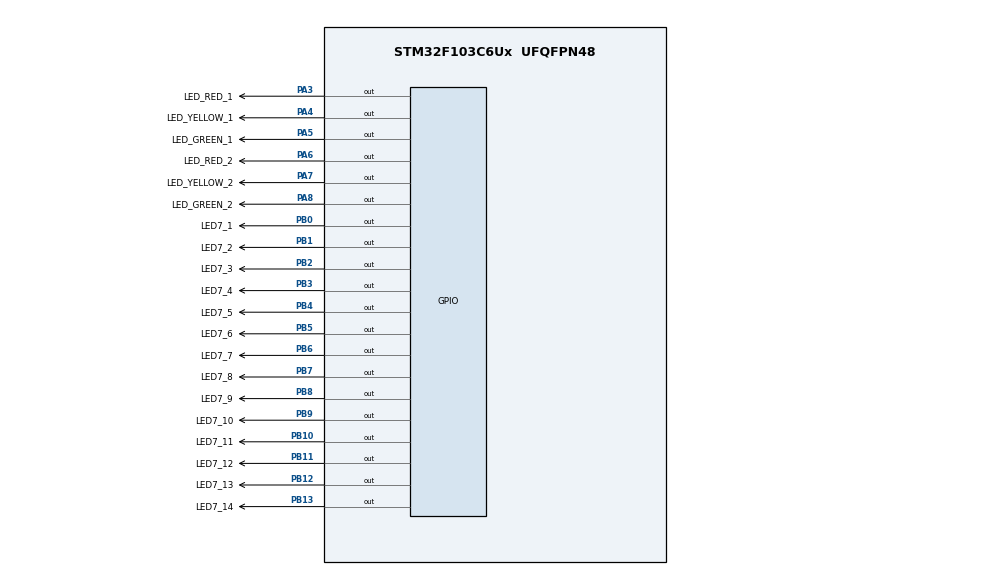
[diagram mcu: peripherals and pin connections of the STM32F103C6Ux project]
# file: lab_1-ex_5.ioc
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Mcu.Family=STM32F1
Mcu.Name=STM32F103C6Ux
Mcu.Package=UFQFPN48
NVIC.PriorityGroup=NVIC_PRIORITYGROUP_4
PA3.GPIO_Label=LED_RED_1
PA3.Signal=GPIO_Output
PA4.GPIO_Label=LED_YELLOW_1
PA4.Signal=GPIO_Output
PA5.GPIO_Label=LED_GREEN_1
PA5.Signal=GPIO_Output
PA6.GPIO_Label=LED_RED_2
PA6.Signal=GPIO_Output
PA7.GPIO_Label=LED_YELLOW_2
PA7.Signal=GPIO_Output
PA8.GPIO_Label=LED_GREEN_2
PA8.Signal=GPIO_Output
PB0.GPIO_Label=LED7_1
PB0.Signal=GPIO_Output
PB1.GPIO_Label=LED7_2
PB1.Signal=GPIO_Output
PB10.GPIO_Label=LED7_11
PB10.Signal=GPIO_Output
PB11.GPIO_Label=LED7_12
PB11.Signal=GPIO_Output
PB12.GPIO_Label=LED7_13
PB12.Signal=GPIO_Output
PB13.GPIO_Label=LED7_14
PB13.Signal=GPIO_Output
PB2.GPIO_Label=LED7_3
PB2.Signal=GPIO_Output
PB3.GPIO_Label=LED7_4
PB3.Signal=GPIO_Output
PB4.GPIO_Label=LED7_5
PB4.Signal=GPIO_Output
PB5.GPIO_Label=LED7_6
PB5.Signal=GPIO_Output
PB6.GPIO_Label=LED7_7
PB6.Signal=GPIO_Output
PB7.GPIO_Label=LED7_8
PB7.Signal=GPIO_Output
PB8.GPIO_Label=LED7_9
PB8.Signal=GPIO_Output
PB9.GPIO_Label=LED7_10
PB9.Signal=GPIO_Output
ProjectManager.HeapSize=0x200
ProjectManager.StackSize=0x400
ProjectManager.TargetToolchain=STM32CubeIDE
RCC.APB1Freq_Value=8000000
RCC.APB2Freq_Value=8000000
VP_SYS_VS_ND.Mode=No_Debug
board=custom

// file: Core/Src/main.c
/* USER CODE BEGIN Header */
/**
  ******************************************************************************
  * @file           : main.c
  * @brief          : Main program body
  ******************************************************************************
  * @attention
  *
  * <h2><center>&copy; Copyright (c) 2022 STMicroelectronics.
  * All rights reserved.</center></h2>
  *
  * This software component is licensed by ST under BSD 3-Clause license,
  * the "License"; You may not use this file except in compliance with the
  * License. You may obtain a copy of the License at:
  *                        opensource.org/licenses/BSD-3-Clause
  *
  ******************************************************************************
  */
/* USER CODE END Header */
// Note:
//Sua lai chan den LED 7 doan thu 2
#include "main.h"

void SystemClock_Config(void);
static void MX_GPIO_Init(void);

int main(void)
{

  /* MCU Configuration--------------------------------------------------------*/

  /* Reset of all peripherals, Initializes the Flash interface and the Systick. */
  HAL_Init();

  /* USER CODE BEGIN Init */
  int point = 0;
  int count_red_1 = 5;
  int count_yellow_1 = 2;
  int count_green_1 = 3;
  int count_red_2 = 5;
  int count_yellow_2 = 2;
  int count_green_2 = 3;
  int counter_vertical = 5;
  int counter_horizontal = 3;
  int convert = 0;
  /* USER CODE END Init */

  /* Configure the system clock */
  SystemClock_Config();

  /* Initialize all configured peripherals */
  MX_GPIO_Init();

  /* Infinite loop */
  /* USER CODE BEGIN WHILE */
  while (1)
  {
	  if(point == 0){
	  		  HAL_GPIO_WritePin(LED_RED_1_GPIO_Port, LED_RED_1_Pin, GPIO_PIN_RESET);
	  		  HAL_GPIO_WritePin(LED_YELLOW_1_GPIO_Port, LED_YELLOW_1_Pin, GPIO_PIN_SET);
	  		  HAL_GPIO_WritePin(LED_GREEN_1_GPIO_Port, LED_GREEN_1_Pin, GPIO_PIN_SET);
	  		  HAL_GPIO_WritePin(LED_RED_2_GPIO_Port, LED_RED_2_Pin, GPIO_PIN_SET);
	  		  if(count_green_2 > 0){
	  			  HAL_GPIO_WritePin(LED_GREEN_2_GPIO_Port, LED_GREEN_2_Pin, GPIO_PIN_RESET);
	  			  HAL_GPIO_WritePin(LED_YELLOW_2_GPIO_Port, LED_YELLOW_2_Pin, GPIO_PIN_SET);
	  			  count_green_2--;
	  		  } else if (count_yellow_2 > 0){
	  			  HAL_GPIO_WritePin(LED_GREEN_2_GPIO_Port, LED_GREEN_2_Pin, GPIO_PIN_SET);
	  			  HAL_GPIO_WritePin(LED_YELLOW_2_GPIO_Port, LED_YELLOW_2_Pin, GPIO_PIN_RESET);
	  			  count_yellow_2--;
	  		  } else {
	  			  //Nothing
	  		  }
	  		  if(count_red_1 > 1){
	  			  count_red_1--;
	  		  } else {
	  			  count_red_1 = 5;
	  			count_green_2 = 3;
	  			count_yellow_2 = 2;
	  			  point = 1;
	  		  }

	  	  } else {
	  		  HAL_GPIO_WritePin(LED_RED_1_GPIO_Port, LED_RED_1_Pin, GPIO_PIN_SET);
	  		  HAL_GPIO_WritePin(LED_RED_2_GPIO_Port, LED_RED_2_Pin,  GPIO_PIN_RESET);
	  		  HAL_GPIO_WritePin(LED_YELLOW_2_GPIO_Port, LED_YELLOW_2_Pin,  GPIO_PIN_SET);
	  		  HAL_GPIO_WritePin(LED_GREEN_2_GPIO_Port, LED_GREEN_2_Pin,  GPIO_PIN_SET);
	  		  if(count_green_1 > 0){
	  			  HAL_GPIO_WritePin(LED_YELLOW_1_GPIO_Port, LED_YELLOW_1_Pin, GPIO_PIN_SET);
	  			  HAL_GPIO_WritePin(LED_GREEN_1_GPIO_Port, LED_GREEN_1_Pin, GPIO_PIN_RESET);
	  			  count_green_1--;
	  		  } else if(count_yellow_1 > 0){
	  			  HAL_GPIO_WritePin(LED_YELLOW_1_GPIO_Port, LED_YELLOW_1_Pin, GPIO_PIN_RESET);
	  			  HAL_GPIO_WritePin(LED_GREEN_1_GPIO_Port, LED_GREEN_1_Pin, GPIO_PIN_SET);
	  			  count_yellow_1--;
	  		  } else {
	  			  //nothing
	  		  }
	  		  if(count_red_2 > 1){
	  			  count_red_2--;
	  		  } else {
	  			  count_red_2 = 5;
	  			  count_green_1 = 3;
	  			  count_yellow_1 = 2;
	  			  point = 0;
	  		  }

	  	  }

	  	  if(counter_vertical == 1 && convert == 0){
	  	  	  HAL_GPIO_WritePin(LED7_1_GPIO_Port, LED7_1_Pin, SET);
			  HAL_GPIO_WritePin(LED7_2_GPIO_Port, LED7_2_Pin, RESET);
			  HAL_GPIO_WritePin(LED7_3_GPIO_Port, LED7_3_Pin, RESET);
			  HAL_GPIO_WritePin(LED7_4_GPIO_Port, LED7_4_Pin, SET);
			  HAL_GPIO_WritePin(LED7_5_GPIO_Port, LED7_5_Pin, SET);
			  HAL_GPIO_WritePin(LED7_6_GPIO_Port, LED7_6_Pin, SET);
			  HAL_GPIO_WritePin(LED7_7_GPIO_Port, LED7_7_Pin, SET);
	  				  counter_vertical = 3;
	  				  convert = 1;
	  	  } else if(counter_vertical == 1 && convert == 1){
	  	  	  HAL_GPIO_WritePin(LED7_1_GPIO_Port, LED7_1_Pin, SET);
			  HAL_GPIO_WritePin(LED7_2_GPIO_Port, LED7_2_Pin, RESET);
			  HAL_GPIO_WritePin(LED7_3_GPIO_Port, LED7_3_Pin, RESET);
			  HAL_GPIO_WritePin(LED7_4_GPIO_Port, LED7_4_Pin, SET);
			  HAL_GPIO_WritePin(LED7_5_GPIO_Port, LED7_5_Pin, SET);
			  HAL_GPIO_WritePin(LED7_6_GPIO_Port, LED7_6_Pin, SET);
			  HAL_GPIO_WritePin(LED7_7_GPIO_Port, LED7_7_Pin, SET);
				  counter_vertical = 2;
				  convert = 2;
  	  	  }else if(counter_vertical == 1 && convert == 2){
	  	  	  HAL_GPIO_WritePin(LED7_1_GPIO_Port, LED7_1_Pin, SET);
			  HAL_GPIO_WritePin(LED7_2_GPIO_Port, LED7_2_Pin, RESET);
			  HAL_GPIO_WritePin(LED7_3_GPIO_Port, LED7_3_Pin, RESET);
			  HAL_GPIO_WritePin(LED7_4_GPIO_Port, LED7_4_Pin, SET);
			  HAL_GPIO_WritePin(LED7_5_GPIO_Port, LED7_5_Pin, SET);
			  HAL_GPIO_WritePin(LED7_6_GPIO_Port, LED7_6_Pin, SET);
			  HAL_GPIO_WritePin(LED7_7_GPIO_Port, LED7_7_Pin, SET);
			  counter_vertical = 5;
			  convert = 0;
	  	  }else if( counter_vertical ==2){
	  	  	  HAL_GPIO_WritePin(LED7_1_GPIO_Port, LED7_1_Pin, RESET);
			  HAL_GPIO_WritePin(LED7_2_GPIO_Port, LED7_2_Pin, RESET);
			  HAL_GPIO_WritePin(LED7_3_GPIO_Port, LED7_3_Pin, SET);
			  HAL_GPIO_WritePin(LED7_4_GPIO_Port, LED7_4_Pin, RESET);
			  HAL_GPIO_WritePin(LED7_5_GPIO_Port, LED7_5_Pin, RESET);
			  HAL_GPIO_WritePin(LED7_6_GPIO_Port, LED7_6_Pin, SET);
			  HAL_GPIO_WritePin(LED7_7_GPIO_Port, LED7_7_Pin, RESET);
			  counter_vertical--;
	  	  } else if(counter_vertical == 3){
	  	  	  HAL_GPIO_WritePin(LED7_1_GPIO_Port, LED7_1_Pin, RESET);
			  HAL_GPIO_WritePin(LED7_2_GPIO_Port, LED7_2_Pin, RESET);
			  HAL_GPIO_WritePin(LED7_3_GPIO_Port, LED7_3_Pin, RESET);
			  HAL_GPIO_WritePin(LED7_4_GPIO_Port, LED7_4_Pin, RESET);
			  HAL_GPIO_WritePin(LED7_5_GPIO_Port, LED7_5_Pin, SET);
			  HAL_GPIO_WritePin(LED7_6_GPIO_Port, LED7_6_Pin, SET);
			  HAL_GPIO_WritePin(LED7_7_GPIO_Port, LED7_7_Pin, RESET);
			  counter_vertical--;
	  	  } else if(counter_vertical == 4){
	  	  	  HAL_GPIO_WritePin(LED7_1_GPIO_Port, LED7_1_Pin, SET);
			  HAL_GPIO_WritePin(LED7_2_GPIO_Port, LED7_2_Pin, RESET);
			  HAL_GPIO_WritePin(LED7_3_GPIO_Port, LED7_3_Pin, RESET);
			  HAL_GPIO_WritePin(LED7_4_GPIO_Port, LED7_4_Pin, SET);
			  HAL_GPIO_WritePin(LED7_5_GPIO_Port, LED7_5_Pin, SET);
			  HAL_GPIO_WritePin(LED7_6_GPIO_Port, LED7_6_Pin, RESET);
			  HAL_GPIO_WritePin(LED7_7_GPIO_Port, LED7_7_Pin, RESET);
			  counter_vertical--;
	  	  } else{
	  	  	  HAL_GPIO_WritePin(LED7_1_GPIO_Port, LED7_1_Pin, RESET);
			  HAL_GPIO_WritePin(LED7_2_GPIO_Port, LED7_2_Pin, SET);
			  HAL_GPIO_WritePin(LED7_3_GPIO_Port, LED7_3_Pin, RESET);
			  HAL_GPIO_WritePin(LED7_4_GPIO_Port, LED7_4_Pin, RESET);
			  HAL_GPIO_WritePin(LED7_5_GPIO_Port, LED7_5_Pin, SET);
			  HAL_GPIO_WritePin(LED7_6_GPIO_Port, LED7_6_Pin, RESET);
			  HAL_GPIO_WritePin(LED7_7_GPIO_Port, LED7_7_Pin, RESET);
			  counter_vertical--;
	  	  }
//
	  	  if(counter_horizontal == 1 && convert == 0){
	  	  	  HAL_GPIO_WritePin(LED7_1_GPIO_Port, LED7_1_Pin, SET);
			  HAL_GPIO_WritePin(LED7_2_GPIO_Port, LED7_2_Pin, RESET);
			  HAL_GPIO_WritePin(LED7_3_GPIO_Port, LED7_3_Pin, RESET);
			  HAL_GPIO_WritePin(LED7_4_GPIO_Port, LED7_4_Pin, SET);
			  HAL_GPIO_WritePin(LED7_5_GPIO_Port, LED7_5_Pin, SET);
			  HAL_GPIO_WritePin(LED7_6_GPIO_Port, LED7_6_Pin, SET);
			  HAL_GPIO_WritePin(LED7_7_GPIO_Port, LED7_7_Pin, SET);
	  				  counter_horizontal = 3;
	  				  convert = 1;
	  	  } else if(counter_horizontal == 1 && convert == 1){
	  	  	  HAL_GPIO_WritePin(LED7_1_GPIO_Port, LED7_1_Pin, SET);
			  HAL_GPIO_WritePin(LED7_2_GPIO_Port, LED7_2_Pin, RESET);
			  HAL_GPIO_WritePin(LED7_3_GPIO_Port, LED7_3_Pin, RESET);
			  HAL_GPIO_WritePin(LED7_4_GPIO_Port, LED7_4_Pin, SET);
			  HAL_GPIO_WritePin(LED7_5_GPIO_Port, LED7_5_Pin, SET);
			  HAL_GPIO_WritePin(LED7_6_GPIO_Port, LED7_6_Pin, SET);
			  HAL_GPIO_WritePin(LED7_7_GPIO_Port, LED7_7_Pin, SET);
				  counter_horizontal = 2;
				  convert = 2;
  	  	  }else if(counter_horizontal == 1 && convert == 2){
	  	  	  HAL_GPIO_WritePin(LED7_1_GPIO_Port, LED7_1_Pin, SET);
			  HAL_GPIO_WritePin(LED7_2_GPIO_Port, LED7_2_Pin, RESET);
			  HAL_GPIO_WritePin(LED7_3_GPIO_Port, LED7_3_Pin, RESET);
			  HAL_GPIO_WritePin(LED7_4_GPIO_Port, LED7_4_Pin, SET);
			  HAL_GPIO_WritePin(LED7_5_GPIO_Port, LED7_5_Pin, SET);
			  HAL_GPIO_WritePin(LED7_6_GPIO_Port, LED7_6_Pin, SET);
			  HAL_GPIO_WritePin(LED7_7_GPIO_Port, LED7_7_Pin, SET);
			  counter_horizontal = 5;
			  convert = 0;
	  	  }else if( counter_horizontal ==2){
	  	  	  HAL_GPIO_WritePin(LED7_1_GPIO_Port, LED7_1_Pin, RESET);
			  HAL_GPIO_WritePin(LED7_2_GPIO_Port, LED7_2_Pin, RESET);
			  HAL_GPIO_WritePin(LED7_3_GPIO_Port, LED7_3_Pin, SET);
			  HAL_GPIO_WritePin(LED7_4_GPIO_Port, LED7_4_Pin, RESET);
			  HAL_GPIO_WritePin(LED7_5_GPIO_Port, LED7_5_Pin, RESET);
			  HAL_GPIO_WritePin(LED7_6_GPIO_Port, LED7_6_Pin, SET);
			  HAL_GPIO_WritePin(LED7_7_GPIO_Port, LED7_7_Pin, RESET);
			  counter_horizontal--;
	  	  } else if(counter_horizontal == 3){
	  	  	  HAL_GPIO_WritePin(LED7_1_GPIO_Port, LED7_1_Pin, RESET);
			  HAL_GPIO_WritePin(LED7_2_GPIO_Port, LED7_2_Pin, RESET);
			  HAL_GPIO_WritePin(LED7_3_GPIO_Port, LED7_3_Pin, RESET);
			  HAL_GPIO_WritePin(LED7_4_GPIO_Port, LED7_4_Pin, RESET);
			  HAL_GPIO_WritePin(LED7_5_GPIO_Port, LED7_5_Pin, SET);
			  HAL_GPIO_WritePin(LED7_6_GPIO_Port, LED7_6_Pin, SET);
			  HAL_GPIO_WritePin(LED7_7_GPIO_Port, LED7_7_Pin, RESET);
			  counter_horizontal--;
	  	  } else if(counter_horizontal == 4){
	  	  	  HAL_GPIO_WritePin(LED7_1_GPIO_Port, LED7_1_Pin, SET);
			  HAL_GPIO_WritePin(LED7_2_GPIO_Port, LED7_2_Pin, RESET);
			  HAL_GPIO_WritePin(LED7_3_GPIO_Port, LED7_3_Pin, RESET);
			  HAL_GPIO_WritePin(LED7_4_GPIO_Port, LED7_4_Pin, SET);
			  HAL_GPIO_WritePin(LED7_5_GPIO_Port, LED7_5_Pin, SET);
			  HAL_GPIO_WritePin(LED7_6_GPIO_Port, LED7_6_Pin, RESET);
			  HAL_GPIO_WritePin(LED7_7_GPIO_Port, LED7_7_Pin, RESET);
			  counter_horizontal--;
	  	  } else{
	  	  	  HAL_GPIO_WritePin(LED7_1_GPIO_Port, LED7_1_Pin, RESET);
			  HAL_GPIO_WritePin(LED7_2_GPIO_Port, LED7_2_Pin, SET);
			  HAL_GPIO_WritePin(LED7_3_GPIO_Port, LED7_3_Pin, RESET);
			  HAL_GPIO_WritePin(LED7_4_GPIO_Port, LED7_4_Pin, RESET);
			  HAL_GPIO_WritePin(LED7_5_GPIO_Port, LED7_5_Pin, SET);
			  HAL_GPIO_WritePin(LED7_6_GPIO_Port, LED7_6_Pin, RESET);
			  HAL_GPIO_WritePin(LED7_7_GPIO_Port, LED7_7_Pin, RESET);
			  counter_horizontal--;
	  	  }

	  	  HAL_Delay(1000);
    /* USER CODE END WHILE */

  }
}

void SystemClock_Config(void)
{
  RCC_OscInitTypeDef RCC_OscInitStruct = {0};
  RCC_ClkInitTypeDef RCC_ClkInitStruct = {0};

  /** Initializes the RCC Oscillators according to the specified parameters
  * in the RCC_OscInitTypeDef structure.
  */
  RCC_OscInitStruct.OscillatorType = RCC_OSCILLATORTYPE_HSI;
  RCC_OscInitStruct.HSIState = RCC_HSI_ON;
  RCC_OscInitStruct.HSICalibrationValue = RCC_HSICALIBRATION_DEFAULT;
  RCC_OscInitStruct.PLL.PLLState = RCC_PLL_NONE;
  if (HAL_RCC_OscConfig(&RCC_OscInitStruct) != HAL_OK)
  {
    Error_Handler();
  }
  /** Initializes the CPU, AHB and APB buses clocks
  */
  RCC_ClkInitStruct.ClockType = RCC_CLOCKTYPE_HCLK|RCC_CLOCKTYPE_SYSCLK
                              |RCC_CLOCKTYPE_PCLK1|RCC_CLOCKTYPE_PCLK2;
  RCC_ClkInitStruct.SYSCLKSource = RCC_SYSCLKSOURCE_HSI;
  RCC_ClkInitStruct.AHBCLKDivider = RCC_SYSCLK_DIV1;
  RCC_ClkInitStruct.APB1CLKDivider = RCC_HCLK_DIV1;
  RCC_ClkInitStruct.APB2CLKDivider = RCC_HCLK_DIV1;

  if (HAL_RCC_ClockConfig(&RCC_ClkInitStruct, FLASH_LATENCY_0) != HAL_OK)
  {
    Error_Handler();
  }
}

static void MX_GPIO_Init(void)
{
  GPIO_InitTypeDef GPIO_InitStruct = {0};

  /* GPIO Ports Clock Enable */
  __HAL_RCC_GPIOA_CLK_ENABLE();
  __HAL_RCC_GPIOB_CLK_ENABLE();

  /*Configure GPIO pin Output Level */
  HAL_GPIO_WritePin(GPIOA, LED_RED_1_Pin|LED_YELLOW_1_Pin|LED_GREEN_1_Pin|LED_RED_2_Pin
                          |LED_YELLOW_2_Pin|LED_GREEN_2_Pin, GPIO_PIN_RESET);

  /*Configure GPIO pin Output Level */
  HAL_GPIO_WritePin(GPIOB, LED7_1_Pin|LED7_2_Pin|LED7_3_Pin|LED7_4_Pin
                          |LED7_5_Pin|LED7_6_Pin|LED7_7_Pin, GPIO_PIN_RESET);

  /*Configure GPIO pins : LED_RED_1_Pin LED_YELLOW_1_Pin LED_GREEN_1_Pin LED_RED_2_Pin
                           LED_YELLOW_2_Pin LED_GREEN_2_Pin */
  GPIO_InitStruct.Pin = LED_RED_1_Pin|LED_YELLOW_1_Pin|LED_GREEN_1_Pin|LED_RED_2_Pin
                          |LED_YELLOW_2_Pin|LED_GREEN_2_Pin;
  GPIO_InitStruct.Mode = GPIO_MODE_OUTPUT_PP;
  GPIO_InitStruct.Pull = GPIO_NOPULL;
  GPIO_InitStruct.Speed = GPIO_SPEED_FREQ_LOW;
  HAL_GPIO_Init(GPIOA, &GPIO_InitStruct);

  /*Configure GPIO pins : LED7_1_Pin LED7_2_Pin LED7_3_Pin LED7_4_Pin
                           LED7_5_Pin LED7_6_Pin LED7_7_Pin */
  GPIO_InitStruct.Pin = LED7_1_Pin|LED7_2_Pin|LED7_3_Pin|LED7_4_Pin
                          |LED7_5_Pin|LED7_6_Pin|LED7_7_Pin;
  GPIO_InitStruct.Mode = GPIO_MODE_OUTPUT_PP;
  GPIO_InitStruct.Pull = GPIO_NOPULL;
  GPIO_InitStruct.Speed = GPIO_SPEED_FREQ_LOW;
  HAL_GPIO_Init(GPIOB, &GPIO_InitStruct);

}

void Error_Handler(void)
{
  __disable_irq();
  while (1)
  {
  }
}

/************************ (C) COPYRIGHT STMicroelectronics *****END OF FILE****/
